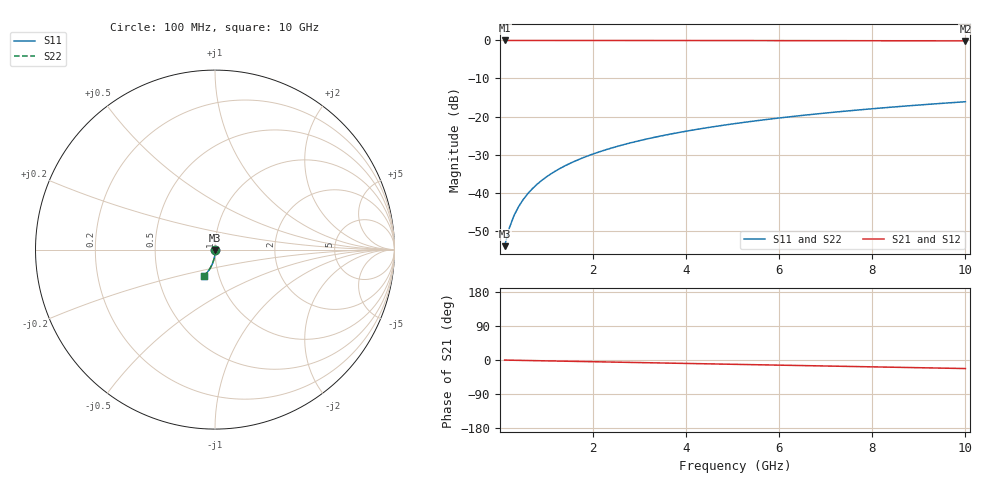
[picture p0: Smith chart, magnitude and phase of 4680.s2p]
# Hz S RI R 50.00
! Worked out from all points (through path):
!   100 points, 100 MHz to 10 GHz, reference 50 ohm
!   highest |S21| = -0.01 dB at 100 MHz (marker M1); lowest = -0.1 dB at 10 GHz (marker M2)
!   group delay of S21, straight-line fit = 6.27 ps
!   lowest |S11| = -54.0 dB at 100 MHz (marker M3), VSWR 1.00, Z = 50.1 - j0.162 ohm
!   |S11| at or under -10 dB: start of sweep to end of sweep
!   |S22| runs from -54.0 to -16.1 dB; largest |S21 - S12| = 0
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1e8  0.00115 -0.00162  0.9988 -0.00395  0.9988 -0.00395  0.00115 -0.00162
2e8  0.00114 -0.00323  0.9988 -0.0079  0.9988 -0.0079  0.00114 -0.00323
3e8  0.00111 -0.00485  0.9987 -0.0118  0.9987 -0.0118  0.00111 -0.00485
4e8  0.00107 -0.00646  0.9987 -0.0158  0.9987 -0.0158  0.00107 -0.00646
5e8  0.00101 -0.00808  0.9986 -0.0197  0.9986 -0.0197  0.00101 -0.00808
6e8  0.000941 -0.00969  0.9985 -0.0237  0.9985 -0.0237  0.000941 -0.00969
7e8  0.000859 -0.0113  0.9983 -0.0276  0.9983 -0.0276  0.000859 -0.0113
8e8  0.000763 -0.0129  0.9982 -0.0316  0.9982 -0.0316  0.000763 -0.0129
9e8  0.000655 -0.0145  0.998 -0.0355  0.998 -0.0355  0.000655 -0.0145
1.1e9  0.0004 -0.0178  0.9977 -0.0434  0.9977 -0.0434  0.0004 -0.0178
1.4e9  -7.91e-05 -0.0226  0.997 -0.0553  0.997 -0.0553  -7.91e-05 -0.0226
1.8e9  -0.000896 -0.029  0.9958 -0.071  0.9958 -0.071  -0.000896 -0.029
2.1e9  -0.00164 -0.0338  0.9947 -0.0828  0.9947 -0.0828  -0.00164 -0.0338
2.5e9  -0.00281 -0.0401  0.993 -0.0985  0.993 -0.0985  -0.00281 -0.0401
2.9e9  -0.00419 -0.0465  0.991 -0.1141  0.991 -0.1141  -0.00419 -0.0465
3.4e9  -0.00618 -0.0543  0.9882 -0.1336  0.9882 -0.1336  -0.00618 -0.0543
4.2e9  -0.01 -0.0666  0.9826 -0.1647  0.9826 -0.1647  -0.01 -0.0666
5.1e9  -0.0152 -0.0802  0.9751 -0.1992  0.9751 -0.1992  -0.0152 -0.0802
5.9e9  -0.0207 -0.0919  0.9672 -0.2296  0.9672 -0.2296  -0.0207 -0.0919
6.7e9  -0.0268 -0.1032  0.9583 -0.2596  0.9583 -0.2596  -0.0268 -0.1032
8.4e9  -0.0421 -0.1258  0.9358 -0.3218  0.9358 -0.3218  -0.0421 -0.1258
1e10  -0.059 -0.145  0.9106 -0.3783  0.9106 -0.3783  -0.059 -0.145
